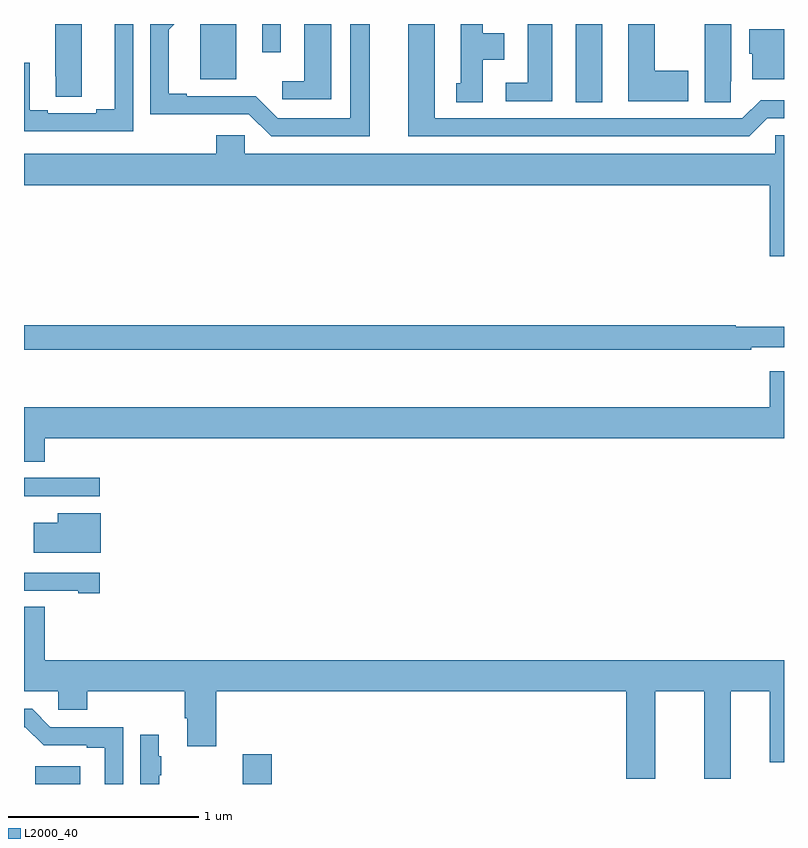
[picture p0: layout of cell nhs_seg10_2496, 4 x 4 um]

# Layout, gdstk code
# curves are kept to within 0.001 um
import gdstk
lib = gdstk.Library(unit=1e-6, precision=1e-09)
def R(c, l, rs):  # rectangles x0, y0, x1, y1
    for r in rs: c.add(gdstk.rectangle(r[:2], r[2:], *l))
def P(c, l, *ps):  # polygons
    for p in ps: c.add(gdstk.Polygon(p, *l))
L2000_40 = (2000, 40)

nhs_seg10_2496 = lib.new_cell('nhs_seg10_2496')
R(nhs_seg10_2496, L2000_40, [(245.06,1294.5,245.296,1294.594), (246.151,1294.5,246.305,1294.657), (245,1296.015,245.398,1296.111), (247.904,1298.089,248.044,1298.5), (245.927,1298.21,246.118,1298.5), (246.254,1298.352,246.351,1298.5)])
P(nhs_seg10_2496, L2000_40, [(245.305,1298.5),(245.165,1298.5),(245.165,1298.224),(245.166,1298.224),(245.166,1298.116),(245.305,1298.116)],
  [(246.82,1298.5),(246.716,1298.5),(246.716,1298.004),(246.336,1298.004),(246.219,1298.121),(245.857,1298.121),(245.857,1298.134),(245.761,1298.134),(245.761,1298.47),(245.791,1298.5),(245.664,1298.5),(245.664,1298.024),(246.183,1298.025),(246.3,1297.908),(246.82,1297.908)],
  [(245.574,1298.5),(245.477,1298.5),(245.477,1298.051),(245.381,1298.051),(245.381,1298.031),(245.125,1298.031),(245.125,1298.046),(245.029,1298.046),(245.029,1298.297),(245,1298.297),(245,1297.935),(245.574,1297.935)],
  [(248.721,1298.2),(248.722,1298.2),(248.722,1298.5),(248.582,1298.5),(248.582,1298.089),(248.721,1298.089)],
  [(248.497,1298.253),(248.32,1298.253),(248.32,1298.5),(248.18,1298.5),(248.18,1298.093),(248.497,1298.093)],
  [(247.414,1298.312),(247.528,1298.312),(247.528,1298.452),(247.414,1298.452),(247.414,1298.5),(247.298,1298.5),(247.298,1298.187),(247.274,1298.187),(247.274,1298.089),(247.414,1298.089)],
  [(248.913,1298.004),(249,1298.004),(249,1298.1),(248.877,1298.1),(248.781,1298.004),(247.162,1298.004),(247.162,1298.5),(247.022,1298.5),(247.022,1297.908),(248.817,1297.908)],
  [(247.78,1298.5),(247.652,1298.5),(247.652,1298.19),(247.536,1298.19),(247.536,1298.094),(247.78,1298.094)],
  [(246.616,1298.5),(246.476,1298.5),(246.476,1298.2),(246.36,1298.2),(246.36,1298.103),(246.616,1298.103)],
  [(249,1298.473),(248.816,1298.473),(248.816,1298.343),(248.834,1298.343),(248.834,1298.21),(249,1298.21)],
  [(249,1297.914),(248.955,1297.914),(248.955,1297.816),(246.162,1297.816),(246.162,1297.914),(246.011,1297.914),(246.011,1297.816),(245,1297.816),(245,1297.652),(248.924,1297.652),(248.924,1297.278),(249,1297.278)],
  [(248.828,1296.798),(249,1296.798),(249,1296.907),(248.745,1296.907),(248.745,1296.914),(245,1296.914),(245,1296.786),(248.828,1296.786)],
  [(245.108,1296.32),(249,1296.32),(249,1296.673),(248.924,1296.673),(248.924,1296.484),(245,1296.484),(245,1296.196),(245.108,1296.196)],
  [(245.404,1295.926),(245.177,1295.926),(245.177,1295.875),(245.052,1295.875),(245.052,1295.717),(245.404,1295.717)],
  [(245.398,1295.613),(245,1295.613),(245,1295.517),(245.285,1295.517),(245.285,1295.505),(245.398,1295.505)],
  [(248.323,1294.988),(248.579,1294.988),(248.579,1294.527),(248.719,1294.527),(248.719,1294.988),(248.924,1294.988),(248.924,1294.614),(249,1294.614),(249,1295.152),(245.108,1295.152),(245.108,1295.432),(245,1295.432),(245,1294.988),(245.181,1294.988),(245.181,1294.89),(245.333,1294.89),(245.333,1294.988),(245.846,1294.988),(245.846,1294.846),(245.858,1294.846),(245.858,1294.698),(246.011,1294.698),(246.011,1294.988),(248.171,1294.988),(248.171,1294.527),(248.323,1294.527)],
  [(245.523,1294.8),(245.139,1294.8),(245.043,1294.896),(245,1294.896),(245,1294.8),(245.007,1294.8),(245.103,1294.704),(245.33,1294.704),(245.33,1294.692),(245.426,1294.692),(245.426,1294.5),(245.523,1294.5)],
  [(245.711,1294.546),(245.722,1294.546),(245.722,1294.646),(245.71,1294.646),(245.71,1294.759),(245.613,1294.759),(245.613,1294.5),(245.711,1294.5)])

lib.write_gds('nhs_seg10_2496.gds')
